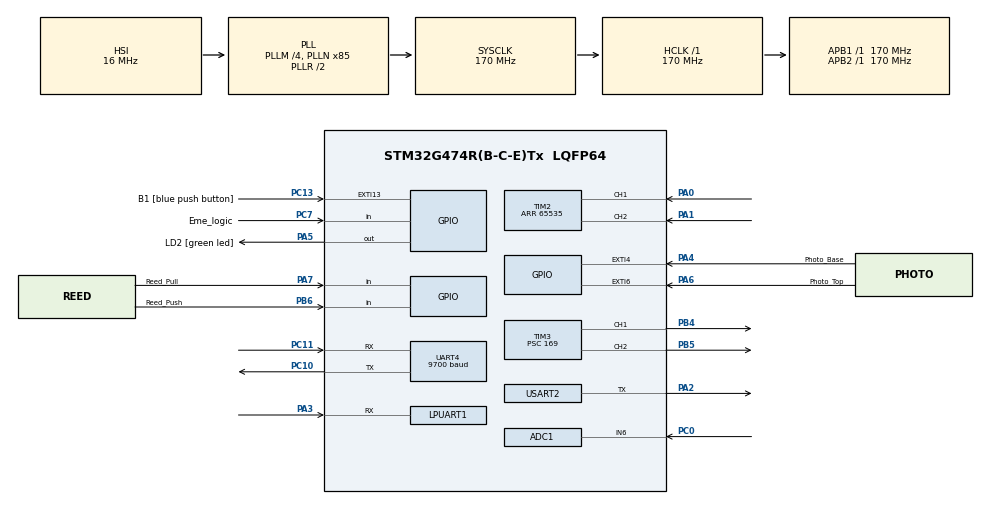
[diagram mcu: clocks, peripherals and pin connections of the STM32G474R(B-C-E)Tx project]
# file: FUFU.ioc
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ARM.CMSIS-DSP.1.15.0.CMSISJjDSP=Source
ARM.CMSIS.6.0.0.CMSISJjCORE=true
Dma.Request0=USART2_TX
Dma.Request1=USART2_RX
Dma.USART2_RX.1.Direction=DMA_PERIPH_TO_MEMORY
Dma.USART2_RX.1.EventEnable=DISABLE
Dma.USART2_RX.1.Instance=DMA1_Channel2
Dma.USART2_RX.1.MemDataAlignment=DMA_MDATAALIGN_BYTE
Dma.USART2_RX.1.MemInc=DMA_MINC_ENABLE
Dma.USART2_RX.1.Mode=DMA_NORMAL
Dma.USART2_RX.1.PeriphDataAlignment=DMA_PDATAALIGN_BYTE
Dma.USART2_RX.1.PeriphInc=DMA_PINC_DISABLE
Dma.USART2_RX.1.Polarity=HAL_DMAMUX_REQ_GEN_RISING
Dma.USART2_RX.1.Priority=DMA_PRIORITY_LOW
Dma.USART2_RX.1.RequestNumber=1
Dma.USART2_RX.1.SignalID=NONE
Dma.USART2_RX.1.SyncEnable=DISABLE
Dma.USART2_RX.1.SyncPolarity=HAL_DMAMUX_SYNC_NO_EVENT
Dma.USART2_RX.1.SyncRequestNumber=1
Dma.USART2_RX.1.SyncSignalID=NONE
Dma.USART2_TX.0.Direction=DMA_MEMORY_TO_PERIPH
Dma.USART2_TX.0.EventEnable=DISABLE
Dma.USART2_TX.0.Instance=DMA1_Channel1
Dma.USART2_TX.0.MemDataAlignment=DMA_MDATAALIGN_BYTE
Dma.USART2_TX.0.MemInc=DMA_MINC_ENABLE
Dma.USART2_TX.0.Mode=DMA_NORMAL
Dma.USART2_TX.0.PeriphDataAlignment=DMA_PDATAALIGN_BYTE
Dma.USART2_TX.0.PeriphInc=DMA_PINC_DISABLE
Dma.USART2_TX.0.Polarity=HAL_DMAMUX_REQ_GEN_RISING
Dma.USART2_TX.0.Priority=DMA_PRIORITY_LOW
Dma.USART2_TX.0.RequestNumber=1
Dma.USART2_TX.0.SignalID=NONE
Dma.USART2_TX.0.SyncEnable=DISABLE
Dma.USART2_TX.0.SyncPolarity=HAL_DMAMUX_SYNC_NO_EVENT
Dma.USART2_TX.0.SyncRequestNumber=1
Dma.USART2_TX.0.SyncSignalID=NONE
Mcu.Family=STM32G4
Mcu.Name=STM32G474R(B-C-E)Tx
Mcu.Package=LQFP64
<<<<<<< HEAD
=======
<<<<<<< HEAD
=======
>>>>>>> 4ef317d6e417b837b7079534382ca3cb1ef0ae51
>>>>>>> b5dcfd5e0c6d315aa72c33243fed083d82ea5181
NVIC.DMA1_Channel1_IRQn=true\:0\:0\:false\:false\:true\:false\:true\:true
NVIC.DMA1_Channel2_IRQn=true\:0\:0\:false\:false\:true\:false\:true\:true
NVIC.EXTI15_10_IRQn=true\:0\:0\:false\:false\:true\:true\:true\:true
NVIC.EXTI4_IRQn=true\:0\:0\:false\:false\:true\:true\:true\:true
NVIC.EXTI9_5_IRQn=true\:0\:0\:false\:false\:true\:true\:true\:true
NVIC.PriorityGroup=NVIC_PRIORITYGROUP_4
NVIC.TIM1_UP_TIM16_IRQn=true\:0\:0\:false\:false\:true\:true\:true\:true
NVIC.TIM4_IRQn=true\:0\:0\:false\:false\:true\:true\:true\:true
NVIC.TIM5_IRQn=true\:0\:0\:false\:false\:true\:true\:true\:true
NVIC.USART2_IRQn=true\:0\:0\:false\:false\:true\:true\:true\:true
PA0.Signal=S_TIM2_CH1
PA1.Signal=S_TIM2_CH2
PA13.GPIO_Label=T_SWDIO
PA13.Mode=Trace_Asynchronous_SW
PA13.Signal=SYS_JTMS-SWDIO
PA14.GPIO_Label=T_SWCLK
PA14.Mode=Trace_Asynchronous_SW
PA14.Signal=SYS_JTCK-SWCLK
PA2.Mode=Asynchronous
PA2.Signal=USART2_TX
PA3.Mode=Asynchronous
<<<<<<< HEAD
PA3.Signal=USART2_RX
=======
PA3.Signal=LPUART1_RX
PA4.GPIO_Label=Photo_Base
<<<<<<< HEAD
=======
>>>>>>> 4ef317d6e417b837b7079534382ca3cb1ef0ae51
>>>>>>> b5dcfd5e0c6d315aa72c33243fed083d82ea5181
PA4.Signal=GPXTI4
PA5.GPIO_Label=LD2 [green led]
PA5.Signal=GPIO_Output
PA6.GPIO_Label=Photo_Top
PA6.Signal=GPXTI6
PA7.GPIO_Label=Reed_Pull
PA7.Signal=GPIO_Input
PB3.GPIO_Label=T_SWO
PB3.Mode=Trace_Asynchronous_SW
PB3.Signal=SYS_JTDO-SWO
PB4.Signal=S_TIM3_CH1
PB5.Signal=S_TIM3_CH2
<<<<<<< HEAD
=======
<<<<<<< HEAD
=======
>>>>>>> b5dcfd5e0c6d315aa72c33243fed083d82ea5181
PB6.GPIO_Label=Reed_Push
PB6.Signal=GPIO_Input
PC0.Mode=IN6-Single-Ended
PC0.Signal=ADC1_IN6
>>>>>>> 4ef317d6e417b837b7079534382ca3cb1ef0ae51
PC10.Mode=Asynchronous
PC10.Signal=UART4_TX
PC11.Mode=Asynchronous
PC11.Signal=UART4_RX
PC13.GPIO_Label=B1 [blue push button]
PC13.Signal=GPXTI13
PC14-OSC32_IN.Mode=LSE-External-Oscillator
PC14-OSC32_IN.Signal=RCC_OSC32_IN
PC15-OSC32_OUT.Mode=LSE-External-Oscillator
PC15-OSC32_OUT.Signal=RCC_OSC32_OUT
PC7.GPIO_Label=Eme_logic
PC7.Signal=GPIO_Input
PF0-OSC_IN.Mode=HSE-External-Oscillator
PF0-OSC_IN.Signal=RCC_OSC_IN
PF1-OSC_OUT.Mode=HSE-External-Oscillator
PF1-OSC_OUT.Signal=RCC_OSC_OUT
ProjectManager.HeapSize=0x200
ProjectManager.StackSize=0x400
ProjectManager.TargetToolchain=STM32CubeIDE
RCC.ADC12Freq_Value=170000000
RCC.ADC345Freq_Value=170000000
RCC.AHBFreq_Value=170000000
RCC.APB1Freq_Value=170000000
RCC.APB1TimFreq_Value=170000000
RCC.APB2Freq_Value=170000000
RCC.APB2TimFreq_Value=170000000
RCC.CortexFreq_Value=170000000
RCC.EXTERNAL_CLOCK_VALUE=12288000
RCC.HCLKFreq_Value=170000000
RCC.HSE_VALUE=24000000
RCC.HSI48_VALUE=48000000
RCC.HSI_VALUE=16000000
RCC.PLLM=RCC_PLLM_DIV4
RCC.PLLN=85
RCC.RTCClockSelection=RCC_RTCCLKSOURCE_LSE
RCC.SYSCLKFreq_VALUE=170000000
RCC.SYSCLKSource=RCC_SYSCLKSOURCE_PLLCLK
RCC.USBFreq_Value=170000000
RCC.VCOOutputFreq_Value=340000000
SH.S_TIM2_CH1.0=TIM2_CH1,Encoder_Interface
SH.S_TIM2_CH2.0=TIM2_CH2,Encoder_Interface
SH.S_TIM3_CH1.0=TIM3_CH1,PWM Generation1 CH1
SH.S_TIM3_CH2.0=TIM3_CH2,PWM Generation2 CH2
TIM16.PeriodNoDither=1145
TIM16.Prescaler=169
TIM2.EncoderMode=TIM_ENCODERMODE_TI12
TIM2.PeriodNoDither=65535
TIM3.Channel-PWM\ Generation1\ CH1=TIM_CHANNEL_1
TIM3.Channel-PWM\ Generation2\ CH2=TIM_CHANNEL_2
TIM3.PeriodNoDither=1000
TIM3.Prescaler=169
TIM4.PeriodNoDither=19999
TIM4.Prescaler=1699
TIM5.Prescaler=169
UART4.BaudRate=9700
UART4.RXFIFOThreshold=RXFIFO_THRESHOLD_FULL
USART2.BaudRate=19200
USART2.Parity=PARITY_EVEN
USART2.VirtualMode-Asynchronous=VM_ASYNC
USART2.WordLength=WORDLENGTH_9B
VP_ARM.CMSIS-DSP_VS_CMSISJjDSP_1.15.0_1.15.0.Mode=CMSISJjDSP
VP_ARM.CMSIS_VS_CMSISJjCORE_6.0.0_6.0.0.Mode=CMSISJjCORE
VP_SYS_VS_DBSignals.Mode=DisableDeadBatterySignals
VP_TIM16_VS_ClockSourceINT.Mode=Enable_Timer
VP_TIM16_VS_OPM.Mode=OPM_bit
VP_TIM3_VS_ClockSourceINT.Mode=Internal
VP_TIM4_VS_ClockSourceINT.Mode=Internal
VP_TIM5_VS_ClockSourceINT.Mode=Internal
board=NUCLEO-G474RE

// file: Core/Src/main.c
/* USER CODE BEGIN Header */
/**
  ******************************************************************************
  * @file           : main.c
  * @brief          : Main program body
  ******************************************************************************
  * @attention
  *
  * Copyright (c) 2024 STMicroelectronics.
  * All rights reserved.
  *
  * This software is licensed under terms that can be found in the LICENSE file
  * in the root directory of this software component.
  * If no LICENSE file comes with this software, it is provided AS-IS.
  *
  ******************************************************************************
  */
/* USER CODE END Header */
#include "main.h"

/* USER CODE BEGIN Includes */
#include "arm_math.h"
#include "ModBusRTU.h"
#include "Basesystem.h"
/* USER CODE END Includes */

TIM_HandleTypeDef htim2;
TIM_HandleTypeDef htim3;
TIM_HandleTypeDef htim4;
TIM_HandleTypeDef htim5;
TIM_HandleTypeDef htim16;

UART_HandleTypeDef huart4;
UART_HandleTypeDef huart2;
DMA_HandleTypeDef hdma_usart2_tx;
DMA_HandleTypeDef hdma_usart2_rx;

/* USER CODE BEGIN PV */
// --porpor-- //

ModbusHandleTypedef hmodbus;
u16u8_t registerFrame[200];
int mode = 0;
int stop = 0;
int motor = 0;
uint8_t ps2rx[10];
uint8_t f[10];
int on = 0;
int v[3];
int h[3];
int counth = 0;
int countv = 0;
int fuck = 0;
int ps2vpos;
int ps2v;
int ps2hpos;
int ps2h;
uint8_t x = 1;			// Fine tune with PSX
int y;
int num[]= {48,49,50,51,52,53,54,55,56,57};
int pwm1 = 0;
int r[] = {0,0,0,0,0,0};
int l[] = {0,0,0,0,0,0};
uint8_t data_packet[4] = {0x45, 0,0, 0x0A};
uint16_t velo[34000];
int start;
int i = 0;
int j = 1;
float pwm = 41.67;

//~~QEI Read From AMT103V & PID~~//
uint32_t QEIReadRaw;
int32_t diff;
arm_pid_instance_f32 PID = {0};
volatile uint16_t setposition = 0;
float Vfeedback = 0;

typedef struct
	{
		// for record New / Old value to calculate dx / dt
		uint32_t Position[2];
		uint64_t TimeStamp[2];
		float QEIPostion_1turn;
		int QEIAngularVelocity;
	}
	QEI_StructureTypeDef;
	QEI_StructureTypeDef QEIdata = {0};
	uint64_t _micros = 0;
	enum
	{
	NEW,OLD
	};
/* USER CODE END PV */

void SystemClock_Config(void);
static void MX_GPIO_Init(void);
static void MX_DMA_Init(void);
static void MX_TIM2_Init(void);
static void MX_TIM3_Init(void);
static void MX_TIM5_Init(void);
static void MX_UART4_Init(void);
static void MX_TIM16_Init(void);
static void MX_USART2_UART_Init(void);
static void MX_TIM4_Init(void);
/* USER CODE BEGIN PFP */
uint64_t micros();
void QEIEncoderPosVel_Update();
void PS2X_Reader();
void Automatic_Control();
/* USER CODE END PFP */

int main(void)
{

  /* MCU Configuration--------------------------------------------------------*/

  /* Reset of all peripherals, Initializes the Flash interface and the Systick. */
  HAL_Init();

  /* Configure the system clock */
  SystemClock_Config();

  /* Initialize all configured peripherals */
  MX_GPIO_Init();
  MX_DMA_Init();
  MX_TIM2_Init();
  MX_TIM3_Init();
  MX_TIM5_Init();
  MX_UART4_Init();
  MX_TIM16_Init();
  MX_USART2_UART_Init();
  MX_TIM4_Init();
  /* USER CODE BEGIN 2 */
  HAL_TIM_Base_Start_IT(&htim4);
  HAL_TIM_Base_Start_IT(&htim5);
  hmodbus.huart = &huart2;
  hmodbus.htim = &htim16;
  hmodbus.slaveAddress = 0x15;
  hmodbus.RegisterSize =200;
  Modbus_init(&hmodbus, registerFrame);

  /* USER CODE END 2 */

  /* Infinite loop */
  while (1)
  {

    /* USER CODE BEGIN 3 */
	  Modbus_Protocal_Worker();
//	  HAL_Delay(200);
	  Routine();
	  Vacuum();
	  GripperMovement();

//  	  QEIReadRaw = __HAL_TIM_GET_COUNTER(&htim2); // Encoder QEI
//  	  static uint64_t timestamps =0;
//  	  int64_t currentTime = micros();
//
//  	  if(currentTime > timestamps)
//  	  {
//  		  timestamps = currentTime + 100000;//us
//  		  QEIEncoderPosVel_Update();
//  	  }

//	  if (start == 1){
//		static uint32_t timestamp =0;
//		if(timestamp < HAL_GetTick())
//		{
//		  timestamp = HAL_GetTick()+0.5;
//
//		  velo[i] = QEIdata.QEIAngularVelocity;
//
//		  data_packet[1] = (uint8_t)(QEIdata.QEIAngularVelocity & 0x00FF); // Mask with 0x00FF to get LSB
//		  data_packet[2]  = (uint8_t)(QEIdata.QEIAngularVelocity >> 8)& 0x00FF; // Shift right 8 bits to get MSB
//
//		  // Transmit data over UART
//		  for (int i = 0; i < sizeof(data_packet); i++)
//		  {
//			HAL_UART_Transmit(&hlpuart1, &data_packet[i], 1, 5);
//		  }
//
//
//		  /// j = 1
//		  if (i == (j*2000)){
//			  j++;
//		  }
//
//		  if ((j%2) == 0){
//			  __HAL_TIM_SET_COMPARE(&htim3, TIM_CHANNEL_1, (j/2)*3*pwm);
////			  __HAL_TIM_SET_COMPARE(&htim3, TIM_CHANNEL_2, 1000);
//			  __HAL_TIM_SET_COMPARE(&htim3, TIM_CHANNEL_2, 0);
//		  }
//
//		  if ((j%2) == 1){
//			  __HAL_TIM_SET_COMPARE(&htim3, TIM_CHANNEL_1, 0);
//		  }
//		  if (j == 18){
//			  __HAL_TIM_SET_COMPARE(&htim3, TIM_CHANNEL_1, 0);
//		  }
//		  i++;
//
//		}
//	}

<<<<<<< HEAD
=======
	  if (start == 1){
		static uint32_t timestamp =0;
		if(timestamp < HAL_GetTick())
		{
		  timestamp = HAL_GetTick()+0.5;

		  velo[i] = QEIdata.QEIAngularVelocity;

		  data_packet[1] = (uint8_t)(QEIdata.QEIAngularVelocity & 0x00FF); // Mask with 0x00FF to get LSB
		  data_packet[2]  = (uint8_t)(QEIdata.QEIAngularVelocity >> 8)& 0x00FF; // Shift right 8 bits to get MSB

		  // Transmit data over UART
		  for (int i = 0; i < sizeof(data_packet); i++)
		  {
			HAL_UART_Transmit(&hlpuart1, &data_packet[i], 1, 5);
		  }

		  /// j = 1
		  if (i == (j*2000)){
			  j++;
		  }

		  if ((j%2) == 0){
			  __HAL_TIM_SET_COMPARE(&htim3, TIM_CHANNEL_1, (j/2)*3*pwm);
//			  __HAL_TIM_SET_COMPARE(&htim3, TIM_CHANNEL_2, 1000);
			  __HAL_TIM_SET_COMPARE(&htim3, TIM_CHANNEL_2, 0);
		  }

		  if ((j%2) == 1){
			  __HAL_TIM_SET_COMPARE(&htim3, TIM_CHANNEL_1, 0);
		  }
		  if (j == 18){
			  __HAL_TIM_SET_COMPARE(&htim3, TIM_CHANNEL_1, 0);
		  }
		  i++;

		}

	  }
//  	  QEIReadRaw = __HAL_TIM_GET_COUNTER(&htim2); // Encoder QEI
//  	  static uint64_t timestamps =0;
//  	  int64_t currentTime = micros();
//
//  	  if(currentTime > timestamps)
//  	  {
//  		  timestamps = currentTime + 100000;//us
//  		  QEIEncoderPosVel_Update();
//  	  }
//
//
>>>>>>> 9b4fa2369da5fcc0c216ebcc5ae4d72abeaa21a2
//	  if (start == 1){
//		static uint32_t timestamp =0;
//		if(timestamp < HAL_GetTick())
//		{
//		  timestamp = HAL_GetTick()+0.5;
//
//		  velo[i] = QEIdata.QEIAngularVelocity;
//
//		  data_packet[1] = (uint8_t)(QEIdata.QEIAngularVelocity & 0x00FF); // Mask with 0x00FF to get LSB
//		  data_packet[2]  = (uint8_t)(QEIdata.QEIAngularVelocity >> 8)& 0x00FF; // Shift right 8 bits to get MSB
//
//		  // Transmit data over UART
//		  for (int i = 0; i < sizeof(data_packet); i++)
//		  {
//			HAL_UART_Transmit(&hlpuart1, &data_packet[i], 1, 5);
//		  }
//
//
//		  /// j = 1
//		  if (i == (j*2000)){
//			  j++;
//		  }
//
//		  if ((j%2) == 0){
//			  __HAL_TIM_SET_COMPARE(&htim3, TIM_CHANNEL_1, (j/2)*3*pwm);
////			  __HAL_TIM_SET_COMPARE(&htim3, TIM_CHANNEL_2, 1000);
//			  __HAL_TIM_SET_COMPARE(&htim3, TIM_CHANNEL_2, 0);
//		  }
//
//		  if ((j%2) == 1){
//			  __HAL_TIM_SET_COMPARE(&htim3, TIM_CHANNEL_1, 0);
//		  }
//		  if (j == 18){
//			  __HAL_TIM_SET_COMPARE(&htim3, TIM_CHANNEL_1, 0);
//		  }
//		  i++;
//
//		}
//
//	  }
<<<<<<< HEAD

=======
>>>>>>> 9b4fa2369da5fcc0c216ebcc5ae4d72abeaa21a2

//	  	  if(mode == 1)
//	  	  {
//	  		PS2X_Reader();
//	  	  }
//	  	  else if(mode == 2)
//	  	  {
//	  		Automatic_Control();
//	  	  }
	  HAL_UART_Receive(&huart4,ps2rx, 10 ,10);

	  if(ps2rx[0] == 74){
		  stop = 1;
	  }

	  if (stop == 1 && ps2rx[0] == 75){
		  stop = 0;
		  __HAL_TIM_SET_COMPARE(&htim3, TIM_CHANNEL_1, 0);		//Stop
		  __HAL_TIM_SET_COMPARE(&htim3, TIM_CHANNEL_2, 0);
		  pwm1 = 0;
	  }

	  else if(stop == 0){
		  PS2X_Reader();
	  }

  }

  /* USER CODE END 3 */
}

void SystemClock_Config(void)
{
  RCC_OscInitTypeDef RCC_OscInitStruct = {0};
  RCC_ClkInitTypeDef RCC_ClkInitStruct = {0};

  /** Configure the main internal regulator output voltage
  */
  HAL_PWREx_ControlVoltageScaling(PWR_REGULATOR_VOLTAGE_SCALE1_BOOST);

  /** Initializes the RCC Oscillators according to the specified parameters
  * in the RCC_OscInitTypeDef structure.
  */
  RCC_OscInitStruct.OscillatorType = RCC_OSCILLATORTYPE_HSI;
  RCC_OscInitStruct.HSIState = RCC_HSI_ON;
  RCC_OscInitStruct.HSICalibrationValue = RCC_HSICALIBRATION_DEFAULT;
  RCC_OscInitStruct.PLL.PLLState = RCC_PLL_ON;
  RCC_OscInitStruct.PLL.PLLSource = RCC_PLLSOURCE_HSI;
  RCC_OscInitStruct.PLL.PLLM = RCC_PLLM_DIV4;
  RCC_OscInitStruct.PLL.PLLN = 85;
  RCC_OscInitStruct.PLL.PLLP = RCC_PLLP_DIV2;
  RCC_OscInitStruct.PLL.PLLQ = RCC_PLLQ_DIV2;
  RCC_OscInitStruct.PLL.PLLR = RCC_PLLR_DIV2;
  if (HAL_RCC_OscConfig(&RCC_OscInitStruct) != HAL_OK)
  {
    Error_Handler();
  }

  /** Initializes the CPU, AHB and APB buses clocks
  */
  RCC_ClkInitStruct.ClockType = RCC_CLOCKTYPE_HCLK|RCC_CLOCKTYPE_SYSCLK
                              |RCC_CLOCKTYPE_PCLK1|RCC_CLOCKTYPE_PCLK2;
  RCC_ClkInitStruct.SYSCLKSource = RCC_SYSCLKSOURCE_PLLCLK;
  RCC_ClkInitStruct.AHBCLKDivider = RCC_SYSCLK_DIV1;
  RCC_ClkInitStruct.APB1CLKDivider = RCC_HCLK_DIV1;
  RCC_ClkInitStruct.APB2CLKDivider = RCC_HCLK_DIV1;

  if (HAL_RCC_ClockConfig(&RCC_ClkInitStruct, FLASH_LATENCY_4) != HAL_OK)
  {
    Error_Handler();
  }
}

static void MX_TIM2_Init(void)
{

  TIM_Encoder_InitTypeDef sConfig = {0};
  TIM_MasterConfigTypeDef sMasterConfig = {0};

  htim2.Instance = TIM2;
  htim2.Init.Prescaler = 0;
  htim2.Init.CounterMode = TIM_COUNTERMODE_UP;
  htim2.Init.Period = 65535;
  htim2.Init.ClockDivision = TIM_CLOCKDIVISION_DIV1;
  htim2.Init.AutoReloadPreload = TIM_AUTORELOAD_PRELOAD_DISABLE;
  sConfig.EncoderMode = TIM_ENCODERMODE_TI12;
  sConfig.IC1Polarity = TIM_ICPOLARITY_RISING;
  sConfig.IC1Selection = TIM_ICSELECTION_DIRECTTI;
  sConfig.IC1Prescaler = TIM_ICPSC_DIV1;
  sConfig.IC1Filter = 0;
  sConfig.IC2Polarity = TIM_ICPOLARITY_RISING;
  sConfig.IC2Selection = TIM_ICSELECTION_DIRECTTI;
  sConfig.IC2Prescaler = TIM_ICPSC_DIV1;
  sConfig.IC2Filter = 0;
  if (HAL_TIM_Encoder_Init(&htim2, &sConfig) != HAL_OK)
  {
    Error_Handler();
  }
  sMasterConfig.MasterOutputTrigger = TIM_TRGO_RESET;
  sMasterConfig.MasterSlaveMode = TIM_MASTERSLAVEMODE_DISABLE;
  if (HAL_TIMEx_MasterConfigSynchronization(&htim2, &sMasterConfig) != HAL_OK)
  {
    Error_Handler();
  }

}

static void MX_TIM3_Init(void)
{

  TIM_ClockConfigTypeDef sClockSourceConfig = {0};
  TIM_MasterConfigTypeDef sMasterConfig = {0};
  TIM_OC_InitTypeDef sConfigOC = {0};

  htim3.Instance = TIM3;
  htim3.Init.Prescaler = 169;
  htim3.Init.CounterMode = TIM_COUNTERMODE_UP;
  htim3.Init.Period = 1000;
  htim3.Init.ClockDivision = TIM_CLOCKDIVISION_DIV1;
  htim3.Init.AutoReloadPreload = TIM_AUTORELOAD_PRELOAD_DISABLE;
  if (HAL_TIM_Base_Init(&htim3) != HAL_OK)
  {
    Error_Handler();
  }
  sClockSourceConfig.ClockSource = TIM_CLOCKSOURCE_INTERNAL;
  if (HAL_TIM_ConfigClockSource(&htim3, &sClockSourceConfig) != HAL_OK)
  {
    Error_Handler();
  }
  if (HAL_TIM_PWM_Init(&htim3) != HAL_OK)
  {
    Error_Handler();
  }
  sMasterConfig.MasterOutputTrigger = TIM_TRGO_RESET;
  sMasterConfig.MasterSlaveMode = TIM_MASTERSLAVEMODE_DISABLE;
  if (HAL_TIMEx_MasterConfigSynchronization(&htim3, &sMasterConfig) != HAL_OK)
  {
    Error_Handler();
  }
  sConfigOC.OCMode = TIM_OCMODE_PWM1;
  sConfigOC.Pulse = 0;
  sConfigOC.OCPolarity = TIM_OCPOLARITY_HIGH;
  sConfigOC.OCFastMode = TIM_OCFAST_DISABLE;
  if (HAL_TIM_PWM_ConfigChannel(&htim3, &sConfigOC, TIM_CHANNEL_1) != HAL_OK)
  {
    Error_Handler();
  }
  if (HAL_TIM_PWM_ConfigChannel(&htim3, &sConfigOC, TIM_CHANNEL_2) != HAL_OK)
  {
    Error_Handler();
  }
  HAL_TIM_MspPostInit(&htim3);

}

static void MX_TIM4_Init(void)
{

  TIM_ClockConfigTypeDef sClockSourceConfig = {0};
  TIM_MasterConfigTypeDef sMasterConfig = {0};

  htim4.Instance = TIM4;
  htim4.Init.Prescaler = 1699;
  htim4.Init.CounterMode = TIM_COUNTERMODE_UP;
  htim4.Init.Period = 19999;
  htim4.Init.ClockDivision = TIM_CLOCKDIVISION_DIV1;
  htim4.Init.AutoReloadPreload = TIM_AUTORELOAD_PRELOAD_DISABLE;
  if (HAL_TIM_Base_Init(&htim4) != HAL_OK)
  {
    Error_Handler();
  }
  sClockSourceConfig.ClockSource = TIM_CLOCKSOURCE_INTERNAL;
  if (HAL_TIM_ConfigClockSource(&htim4, &sClockSourceConfig) != HAL_OK)
  {
    Error_Handler();
  }
  sMasterConfig.MasterOutputTrigger = TIM_TRGO_RESET;
  sMasterConfig.MasterSlaveMode = TIM_MASTERSLAVEMODE_DISABLE;
  if (HAL_TIMEx_MasterConfigSynchronization(&htim4, &sMasterConfig) != HAL_OK)
  {
    Error_Handler();
  }

}

static void MX_TIM5_Init(void)
{

  TIM_ClockConfigTypeDef sClockSourceConfig = {0};
  TIM_MasterConfigTypeDef sMasterConfig = {0};

  htim5.Instance = TIM5;
  htim5.Init.Prescaler = 169;
  htim5.Init.CounterMode = TIM_COUNTERMODE_UP;
  htim5.Init.Period = 4294967295;
  htim5.Init.ClockDivision = TIM_CLOCKDIVISION_DIV1;
  htim5.Init.AutoReloadPreload = TIM_AUTORELOAD_PRELOAD_DISABLE;
  if (HAL_TIM_Base_Init(&htim5) != HAL_OK)
  {
    Error_Handler();
  }
  sClockSourceConfig.ClockSource = TIM_CLOCKSOURCE_INTERNAL;
  if (HAL_TIM_ConfigClockSource(&htim5, &sClockSourceConfig) != HAL_OK)
  {
    Error_Handler();
  }
  sMasterConfig.MasterOutputTrigger = TIM_TRGO_RESET;
  sMasterConfig.MasterSlaveMode = TIM_MASTERSLAVEMODE_DISABLE;
  if (HAL_TIMEx_MasterConfigSynchronization(&htim5, &sMasterConfig) != HAL_OK)
  {
    Error_Handler();
  }

}

static void MX_TIM16_Init(void)
{

  htim16.Instance = TIM16;
  htim16.Init.Prescaler = 169;
  htim16.Init.CounterMode = TIM_COUNTERMODE_UP;
  htim16.Init.Period = 1145;
  htim16.Init.ClockDivision = TIM_CLOCKDIVISION_DIV1;
  htim16.Init.RepetitionCounter = 0;
  htim16.Init.AutoReloadPreload = TIM_AUTORELOAD_PRELOAD_DISABLE;
  if (HAL_TIM_Base_Init(&htim16) != HAL_OK)
  {
    Error_Handler();
  }
  if (HAL_TIM_OnePulse_Init(&htim16, TIM_OPMODE_SINGLE) != HAL_OK)
  {
    Error_Handler();
  }

}

static void MX_UART4_Init(void)
{

  huart4.Instance = UART4;
  huart4.Init.BaudRate = 9700;
  huart4.Init.WordLength = UART_WORDLENGTH_8B;
  huart4.Init.StopBits = UART_STOPBITS_1;
  huart4.Init.Parity = UART_PARITY_NONE;
  huart4.Init.Mode = UART_MODE_TX_RX;
  huart4.Init.HwFlowCtl = UART_HWCONTROL_NONE;
  huart4.Init.OverSampling = UART_OVERSAMPLING_16;
  huart4.Init.OneBitSampling = UART_ONE_BIT_SAMPLE_DISABLE;
  huart4.Init.ClockPrescaler = UART_PRESCALER_DIV1;
  huart4.AdvancedInit.AdvFeatureInit = UART_ADVFEATURE_NO_INIT;
  if (HAL_UART_Init(&huart4) != HAL_OK)
  {
    Error_Handler();
  }
  if (HAL_UARTEx_SetTxFifoThreshold(&huart4, UART_TXFIFO_THRESHOLD_1_8) != HAL_OK)
  {
    Error_Handler();
  }
  if (HAL_UARTEx_SetRxFifoThreshold(&huart4, UART_RXFIFO_THRESHOLD_8_8) != HAL_OK)
  {
    Error_Handler();
  }
  if (HAL_UARTEx_DisableFifoMode(&huart4) != HAL_OK)
  {
    Error_Handler();
  }

}

static void MX_USART2_UART_Init(void)
{

  huart2.Instance = USART2;
  huart2.Init.BaudRate = 19200;
  huart2.Init.WordLength = UART_WORDLENGTH_9B;
  huart2.Init.StopBits = UART_STOPBITS_1;
  huart2.Init.Parity = UART_PARITY_EVEN;
  huart2.Init.Mode = UART_MODE_TX_RX;
  huart2.Init.HwFlowCtl = UART_HWCONTROL_NONE;
  huart2.Init.OverSampling = UART_OVERSAMPLING_16;
  huart2.Init.OneBitSampling = UART_ONE_BIT_SAMPLE_DISABLE;
  huart2.Init.ClockPrescaler = UART_PRESCALER_DIV1;
  huart2.AdvancedInit.AdvFeatureInit = UART_ADVFEATURE_NO_INIT;
  if (HAL_UART_Init(&huart2) != HAL_OK)
  {
    Error_Handler();
  }
  if (HAL_UARTEx_SetTxFifoThreshold(&huart2, UART_TXFIFO_THRESHOLD_1_8) != HAL_OK)
  {
    Error_Handler();
  }
  if (HAL_UARTEx_SetRxFifoThreshold(&huart2, UART_RXFIFO_THRESHOLD_1_8) != HAL_OK)
  {
    Error_Handler();
  }
  if (HAL_UARTEx_DisableFifoMode(&huart2) != HAL_OK)
  {
    Error_Handler();
  }

}

static void MX_DMA_Init(void)
{

  /* DMA controller clock enable */
  __HAL_RCC_DMAMUX1_CLK_ENABLE();
  __HAL_RCC_DMA1_CLK_ENABLE();

  /* DMA interrupt init */
  /* DMA1_Channel1_IRQn interrupt configuration */
  HAL_NVIC_SetPriority(DMA1_Channel1_IRQn, 0, 0);
  HAL_NVIC_EnableIRQ(DMA1_Channel1_IRQn);
  /* DMA1_Channel2_IRQn interrupt configuration */
  HAL_NVIC_SetPriority(DMA1_Channel2_IRQn, 0, 0);
  HAL_NVIC_EnableIRQ(DMA1_Channel2_IRQn);

}

static void MX_GPIO_Init(void)
{
  GPIO_InitTypeDef GPIO_InitStruct = {0};

  /* GPIO Ports Clock Enable */
  __HAL_RCC_GPIOC_CLK_ENABLE();
  __HAL_RCC_GPIOF_CLK_ENABLE();
  __HAL_RCC_GPIOA_CLK_ENABLE();
  __HAL_RCC_GPIOB_CLK_ENABLE();

  /*Configure GPIO pin Output Level */
  HAL_GPIO_WritePin(LD2_GPIO_Port, LD2_Pin, GPIO_PIN_RESET);

  /*Configure GPIO pin : B1_Pin */
  GPIO_InitStruct.Pin = B1_Pin;
  GPIO_InitStruct.Mode = GPIO_MODE_IT_RISING;
  GPIO_InitStruct.Pull = GPIO_NOPULL;
  HAL_GPIO_Init(B1_GPIO_Port, &GPIO_InitStruct);

  /*Configure GPIO pins : Photo_Base_Pin Photo_Top_Pin */
  GPIO_InitStruct.Pin = Photo_Base_Pin|Photo_Top_Pin;
  GPIO_InitStruct.Mode = GPIO_MODE_IT_RISING;
  GPIO_InitStruct.Pull = GPIO_NOPULL;
  HAL_GPIO_Init(GPIOA, &GPIO_InitStruct);

  /*Configure GPIO pin : LD2_Pin */
  GPIO_InitStruct.Pin = LD2_Pin;
  GPIO_InitStruct.Mode = GPIO_MODE_OUTPUT_PP;
  GPIO_InitStruct.Pull = GPIO_NOPULL;
  GPIO_InitStruct.Speed = GPIO_SPEED_FREQ_LOW;
  HAL_GPIO_Init(LD2_GPIO_Port, &GPIO_InitStruct);

  /*Configure GPIO pin : Reed_Pull_Pin */
  GPIO_InitStruct.Pin = Reed_Pull_Pin;
  GPIO_InitStruct.Mode = GPIO_MODE_INPUT;
  GPIO_InitStruct.Pull = GPIO_NOPULL;
  HAL_GPIO_Init(Reed_Pull_GPIO_Port, &GPIO_InitStruct);

  /*Configure GPIO pin : Eme_logic_Pin */
  GPIO_InitStruct.Pin = Eme_logic_Pin;
  GPIO_InitStruct.Mode = GPIO_MODE_INPUT;
  GPIO_InitStruct.Pull = GPIO_NOPULL;
  HAL_GPIO_Init(Eme_logic_GPIO_Port, &GPIO_InitStruct);

  /*Configure GPIO pin : Reed_Push_Pin */
  GPIO_InitStruct.Pin = Reed_Push_Pin;
  GPIO_InitStruct.Mode = GPIO_MODE_INPUT;
  GPIO_InitStruct.Pull = GPIO_NOPULL;
  HAL_GPIO_Init(Reed_Push_GPIO_Port, &GPIO_InitStruct);

  /* EXTI interrupt init*/
  HAL_NVIC_SetPriority(EXTI4_IRQn, 0, 0);
  HAL_NVIC_EnableIRQ(EXTI4_IRQn);

  HAL_NVIC_SetPriority(EXTI9_5_IRQn, 0, 0);
  HAL_NVIC_EnableIRQ(EXTI9_5_IRQn);

  HAL_NVIC_SetPriority(EXTI15_10_IRQn, 0, 0);
  HAL_NVIC_EnableIRQ(EXTI15_10_IRQn);

}

/* USER CODE BEGIN 4 */
//MicroSecondTimer Implement
void HAL_TIM_PeriodElapsedCallback(TIM_HandleTypeDef *htim)
	{
//		if(htim == &htim5)
//			{
//			_micros += UINT32_MAX;
//			}
		if(htim == &htim4)
		{
			 Heartbeat();
		}
	}

//uint64_t micros()
//	{
//		return __HAL_TIM_GET_COUNTER(&htim5)+_micros;
//	}

void QEIEncoderPosVel_Update()
	{
		//collect data
		QEIdata.TimeStamp[NEW] = micros();
		QEIdata.Position[NEW] = __HAL_TIM_GET_COUNTER(&htim2);
		//Postion 1 turn calculation
		QEIdata.QEIPostion_1turn = QEIdata.Position[NEW] % 8192;
		//calculate dx
		int32_t diffPosition = QEIdata.Position[NEW] - QEIdata.Position[OLD];
		//Handle Warp around
		if(diffPosition > 32256)
			diffPosition -=64512;
		if(diffPosition < -32256)
			diffPosition +=64512;
		//calculate dt
		float diffTime = (QEIdata.TimeStamp[NEW]-QEIdata.TimeStamp[OLD]) * 0.000001;
		//calculate anglar velocity
		QEIdata.QEIAngularVelocity = ((diffPosition/8192.0)*60) / diffTime;
		//store value for next loop
		QEIdata.Position[OLD] = QEIdata.Position[NEW];
		QEIdata.TimeStamp[OLD]=QEIdata.TimeStamp[NEW];
}

void PS2X_Reader()
{
	///----- Stage 1: Jogging and Floor selection -----///
	ps2v = 0;
	ps2h = 0;
	on = 0;
	if (ps2rx[0] == 69) 		//Press L4 to switch to use Joy stick
	{
		mode = 1;
		ps2vpos = 132;
	}
	if (ps2rx[0] == 70)		//Press L5 to switch to use Button
	{
		mode = 2;
	}
	//--- Mode Joy stick ---//
	if (mode == 1)
	{
		//Read Ps2 Joy stick in VERTICAL
		if(ps2rx[0] == 81){
			if (ps2rx[2] == 83){
				y = 1;
			}
			else if (ps2rx[3] == 83){
				y = 2;
			}
			else if (ps2rx[4] == 83){
				y = 3;
			}
			for(int k=1 ; k<5 ; k++){
				for (int l=0; l<10 ; l++){
					if (ps2rx[k] == num[l]){
						v[k-1] = l;
					}
				}
			}
			if (y == 1){
				ps2vpos = v[0];
			}
			else if (y == 2){
				ps2vpos = (v[0]*10)+v[1];
			}
			else if (y == 3){
				ps2vpos = (v[0]*100)+(v[1]*10)+v[2];
			}

//			  //Read Ps2 Joy stick in HORIZON
//			  if (ps2rx[0] == 83 && ps2rx[2] == 13)
//			  {
//				  for (int i = 0; i < 10 ; i++)
//				  {
//					  if (ps2rx[1]==num[i])
//					  {
//						  h[0] = i;
//					  }
//				  }
//				  ps2hpos = h[0];
//			  }
//			  else if (ps2rx[0] == 83 && ps2rx[3] == 13)
//			  {
//				  for (int i = 0; i < 10 ; i++)
//				  {
//					  if (ps2rx[1]==num[i])
//					  {
//						  h[0] = i;
//					  }
//					  if (ps2rx[2]==num[i])
//					  {
//						  h[1] = i;
//					  }
//				  }
//				  ps2hpos = (h[0]*10)+h[1];
//			  }
//			  else if (ps2rx[0] == 83 && ps2rx[4] == 13)
//			  {
//				  for (int i = 0; i < 10 ; i++)
//				  {
//					  if (ps2rx[1]==num[i])
//					  {
//						  h[0] = i;
//					  }
//					  if (ps2rx[2]==num[i])
//					  {
//						  h[1] = i;
//					  }
//					  if (ps2rx[3]==num[i])
//					  {
//						  h[2] = i;
//					  }
//				  }
//				  ps2hpos = (h[0]*100)+(h[1]*10)+h[2];
//			  }
		}

		//Convert from 0 - 255 to -128 - 128
		ps2v = ps2vpos - 132;
		ps2h = ps2hpos - 132;

		//Generate PWM
		pwm1 = (ps2v / 128.0)*300;
		if (pwm1 > 300)
		{
			pwm1 = 300;
		}
		if (pwm1 < -300)
		{
			pwm1 = -300;
		}
		if (pwm1 < 0)
		{
			pwm1 = pwm1 * -1;
			__HAL_TIM_SET_COMPARE(&htim3, TIM_CHANNEL_2, 0);		//PWM out Backward
		}
		else if (pwm1 > 0)
		{
			__HAL_TIM_SET_COMPARE(&htim3, TIM_CHANNEL_2, 1000);		//PWM out forward
		}
		__HAL_TIM_SET_COMPARE(&htim3, TIM_CHANNEL_1, pwm1);
	}

	//--- Mode Button ---//
	else if (mode == 2)
	{
		//////////////////////BUG BUG BUG BUG BUG BUG BUG BUG//////////////////////////////
//		if (l[6] == 1 && mode == 2){
//			f[fuck] = 1+fuck;
//			fuck++;
//		}
//		/// this upper code for checking in Live Expression about Floor Seclection
//		//---- Reset Floor in Array f[] ----//
//		if (r[0] == 1 && mode == 2){
//			f[fuck-1] = 0;
//			fuck--;
//		}
		//////////////////////BUG BUG BUG BUG BUG BUG BUG BUG//////////////////////////////
		ps2v = 0;
		ps2h = 0;
		//Keys Map
		static uint32_t timestamp =0;
		if(timestamp < HAL_GetTick())
		{
			timestamp = HAL_GetTick()+100;
			ps2rx[0] = 0;
		}
		for (int i =0;i<6;i++)
		{
			if (ps2rx[0] == 0)
			{
				//Left
				l[0] = 0; //w
				l[1] = 0;	//a
				l[2] = 0;	//s
				l[3] = 0;	//d
				l[4] = 0;	//l1
				l[5] = 0;	//l2
				l[6] = 0;
				l[7] = 0;
				//Right
				r[0] = 0;	//w
				r[1] = 0;	//a
				r[2] = 0;	//s
				r[3] = 0;	//d
				r[4] = 0;	//r1
				r[5] = 0;	//r2

				on = 0;
			}

			if (ps2rx[0] - 65 == i)
			{
				l[i] = 1;
			}

			else if (ps2rx[0] - 73 == i)
			{
				r[i] = 1;
			}
		}

		//Generate PWM
		if (l[2] == 1)
		{
			pwm1 = pwm1 - x;	// + PWM with x
			if (pwm1 < 0)
			{
				pwm1 = 0;		// to make pwm1 >= 0
			}
		}
		else if (l[3] == 1)
		{
			pwm1 = pwm1 + x;	// - PWM with x
		}
		else if (l[0] == 1)		//Press down button(l1) to PWM out forward
		{
			__HAL_TIM_SET_COMPARE(&htim3, TIM_CHANNEL_1, pwm1);
			__HAL_TIM_SET_COMPARE(&htim3, TIM_CHANNEL_2, 0);
			motor = 1;		//motor is working forward for checking in Live Expression
		}
		else if (l[1] == 1)		//Press down button(l1) to PWM out backward
		{
			__HAL_TIM_SET_COMPARE(&htim3, TIM_CHANNEL_1, pwm1);
			__HAL_TIM_SET_COMPARE(&htim3, TIM_CHANNEL_2, 1000);
			motor = 2;		//motor is working backward for checking in Live Expression
		}
		else if (r[1] == 1)		//Press X(r1) to stop
		{
			__HAL_TIM_SET_COMPARE(&htim3, TIM_CHANNEL_1, 0);		//Stop
			__HAL_TIM_SET_COMPARE(&htim3, TIM_CHANNEL_2, 0);
			motor =0;			//motor is not working for checking in Live Expression
		}
	}

	//---- Floor Seclection ----//
	if(base.ShelveMode == 1)
	{
		if (ps2rx[0] == 71)
		{
			base.Shelve[fuck] = 1+fuck;
			fuck= fuck +1;
		}
		else if (ps2rx[0] == 73)
		{
			base.Shelve[fuck-1] = 0;
			fuck = fuck -1;
		}

		if (ps2rx[0] == 72 && registerFrame[0x10].U16 == 0b0001)
		{
			base.ShelveMode = 0;
			registerFrame[0x10].U16 = 0b0000;
		}
	}

}

void Automatic_Control()
{

		  static uint32_t timestamp =0;
	 	  diff = setposition - QEIReadRaw;
		  if(timestamp < HAL_GetTick())
			  {
			  timestamp = HAL_GetTick()+1;
			  Vfeedback = arm_pid_f32(&PID, setposition - QEIReadRaw);
			  }
		  if(diff > 0)
			  {
				  __HAL_TIM_SET_COMPARE(&htim3, TIM_CHANNEL_1, Vfeedback);
				  __HAL_TIM_SET_COMPARE(&htim3, TIM_CHANNEL_2, 0);
			  }
		  else if(diff < 0)
			  {
				  __HAL_TIM_SET_COMPARE(&htim3, TIM_CHANNEL_1, Vfeedback);
				  __HAL_TIM_SET_COMPARE(&htim3, TIM_CHANNEL_2, 1000);
			  }
}

// Photo Limit Condition
void HAL_GPIO_EXTI_Callback(uint16_t GPIO_Pin)
{
    if (GPIO_Pin == GPIO_PIN_4)
    {
        // Handle the interrupt for PA4
        // Example: Toggle an LED, send a message, etc.
    	HAL_GPIO_WritePin(GPIOA, GPIO_PIN_5, RESET);
    	__HAL_TIM_SET_COMPARE(&htim3, TIM_CHANNEL_1, 0);
		  __HAL_TIM_SET_COMPARE(&htim3, TIM_CHANNEL_2, 0);	//PWM out backward
    }
    else if (GPIO_Pin == GPIO_PIN_6)
    {
        // Handle the interrupt for PA6
        // Example: Toggle a different LED, trigger another event, etc.
    	HAL_GPIO_WritePin(GPIOA, GPIO_PIN_5, SET);
    	__HAL_TIM_SET_COMPARE(&htim3, TIM_CHANNEL_1, 0);
		__HAL_TIM_SET_COMPARE(&htim3, TIM_CHANNEL_2, 0);	//PWM out backward
		mode = 0;
    }
}

/* USER CODE END 4 */

void Error_Handler(void)
{
  __disable_irq();
  while (1)
  {
  }
}
